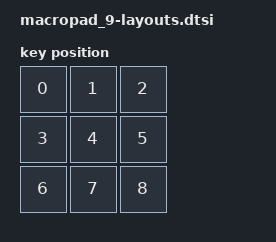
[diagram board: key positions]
#include <physical_layouts.dtsi>

/ {
    physical_layout_macropad_9: physical_layout_macropad_9 {
        compatible = "zmk,physical-layout";
        display-name = "macropad-9";
        keys  //                     w   h    x    y     rot    rx    ry
            = <&key_physical_attrs 100 100    0    0       0     0     0>
            , <&key_physical_attrs 100 100  100    0       0   100     0>
            , <&key_physical_attrs 100 100  200    0       0   200     0>
            , <&key_physical_attrs 100 100    0  100       0     0   100>
            , <&key_physical_attrs 100 100  100  100       0   100   100>
            , <&key_physical_attrs 100 100  200  100       0   200   100>
            , <&key_physical_attrs 100 100    0  200       0     0   200>
            , <&key_physical_attrs 100 100  100  200       0   100   200>
            , <&key_physical_attrs 100 100  200  200       0   200   200>
            ;
    };
};
